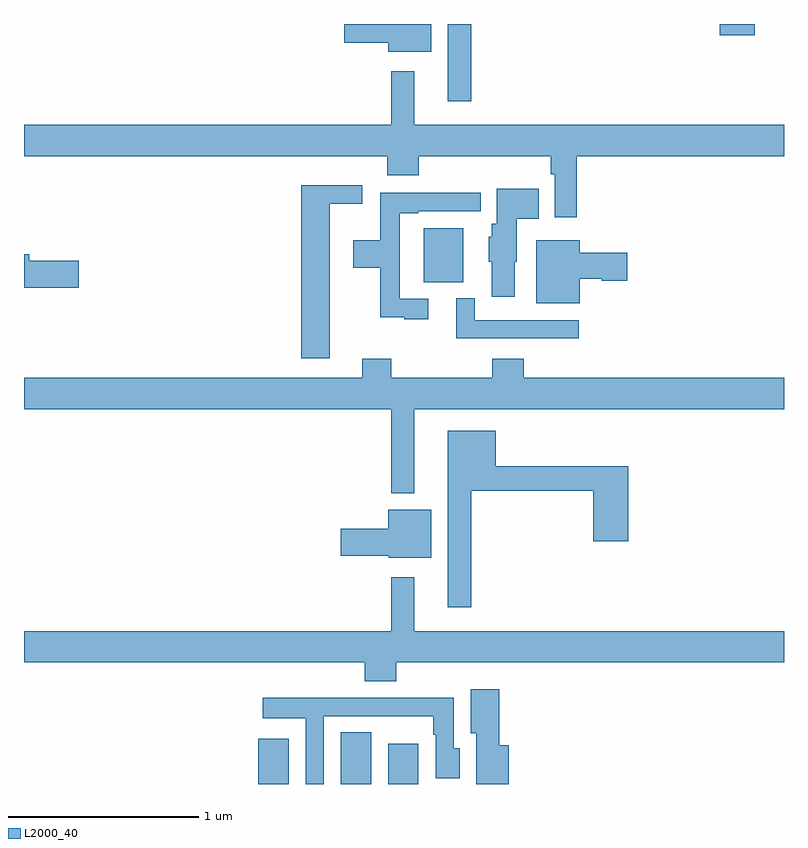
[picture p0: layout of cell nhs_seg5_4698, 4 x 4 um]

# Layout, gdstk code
import gdstk
lib = gdstk.Library(unit=1e-6, precision=1e-09)
def R(c, l, rs):  # rectangles x0, y0, x1, y1
    for r in rs: c.add(gdstk.rectangle(r[:2], r[2:], *l))
def P(c, l, *ps):  # polygons
    for p in ps: c.add(gdstk.Polygon(p, *l))
L2000_40 = (2000, 40)

nhs_seg5_4698 = lib.new_cell('nhs_seg5_4698')
R(nhs_seg5_4698, L2000_40, [(388.232,842.799,388.393,843.037), (388.667,842.799,388.828,843.071), (388.916,842.799,389.074,843.01), (389.105,845.441,389.311,845.725), (389.231,846.393,389.353,846.799), (390.662,846.741,390.845,846.799)])
P(nhs_seg5_4698, L2000_40, [(389.143,846.799),(388.686,846.799),(388.686,846.7),(388.916,846.7),(388.916,846.653),(389.143,846.653)],
  [(389.909,846.104),(391,846.104),(391,846.268),(389.053,846.268),(389.053,846.55),(388.932,846.55),(388.932,846.268),(387,846.268),(387,846.104),(388.913,846.104),(388.913,846.002),(389.078,846.002),(389.078,846.104),(389.773,846.104),(389.773,846.008),(389.793,846.008),(389.793,845.781),(389.909,845.781)],
  [(388.609,845.852),(388.78,845.852),(388.78,845.95),(388.46,845.95),(388.46,845.04),(388.609,845.04)],
  [(389.584,845.547),(389.593,845.547),(389.593,845.774),(389.708,845.774),(389.708,845.932),(389.489,845.932),(389.489,845.748),(389.462,845.748),(389.462,845.679),(389.447,845.679),(389.447,845.547),(389.462,845.547),(389.462,845.364),(389.584,845.364)],
  [(389.128,845.352),(388.977,845.352),(388.977,845.802),(389.074,845.802),(389.074,845.814),(389.404,845.814),(389.404,845.912),(389.161,845.912),(389.161,845.91),(388.876,845.91),(388.876,845.662),(388.734,845.662),(388.734,845.515),(388.876,845.515),(388.876,845.255),(389,845.255),(389,845.244),(389.128,845.244)],
  [(389.926,845.459),(390.042,845.459),(390.042,845.447),(390.175,845.447),(390.175,845.594),(389.926,845.594),(389.926,845.662),(389.696,845.662),(389.696,845.33),(389.926,845.33)],
  [(387.289,845.552),(387.028,845.552),(387.028,845.588),(387,845.588),(387,845.41),(387.289,845.41)],
  [(389.92,845.241),(389.373,845.241),(389.373,845.356),(389.276,845.356),(389.276,845.145),(389.92,845.145)],
  [(389.053,844.772),(391,844.772),(391,844.936),(389.63,844.936),(389.63,845.038),(389.465,845.038),(389.465,844.936),(388.934,844.936),(388.934,845.038),(388.781,845.038),(388.781,844.936),(387,844.936),(387,844.772),(388.932,844.772),(388.932,844.328),(389.053,844.328)],
  [(389.353,844.342),(389.996,844.342),(389.996,844.077),(390.179,844.077),(390.179,844.471),(389.482,844.471),(389.482,844.657),(389.231,844.657),(389.231,843.729),(389.353,843.729)],
  [(389.143,844.243),(388.916,844.243),(388.916,844.142),(388.668,844.142),(388.668,844),(388.92,844),(388.92,843.989),(389.143,843.989)],
  [(388.958,843.44),(391,843.44),(391,843.604),(389.053,843.604),(389.053,843.886),(388.932,843.886),(388.932,843.604),(387,843.604),(387,843.44),(388.793,843.44),(388.793,843.341),(388.958,843.341)],
  [(389.552,843.004),(389.5,843.004),(389.5,843.298),(389.351,843.298),(389.351,843.065),(389.381,843.065),(389.381,842.799),(389.552,842.799)],
  [(388.578,843.156),(388.924,843.156),(388.924,843.155),(389.154,843.155),(389.154,843.059),(389.166,843.059),(389.166,842.829),(389.293,842.829),(389.293,842.988),(389.262,842.988),(389.262,843.254),(389.041,843.254),(389.041,843.252),(388.675,843.252),(388.675,843.254),(388.257,843.254),(388.257,843.146),(388.482,843.146),(388.482,842.799),(388.578,842.799)])

lib.write_gds('nhs_seg5_4698.gds')
